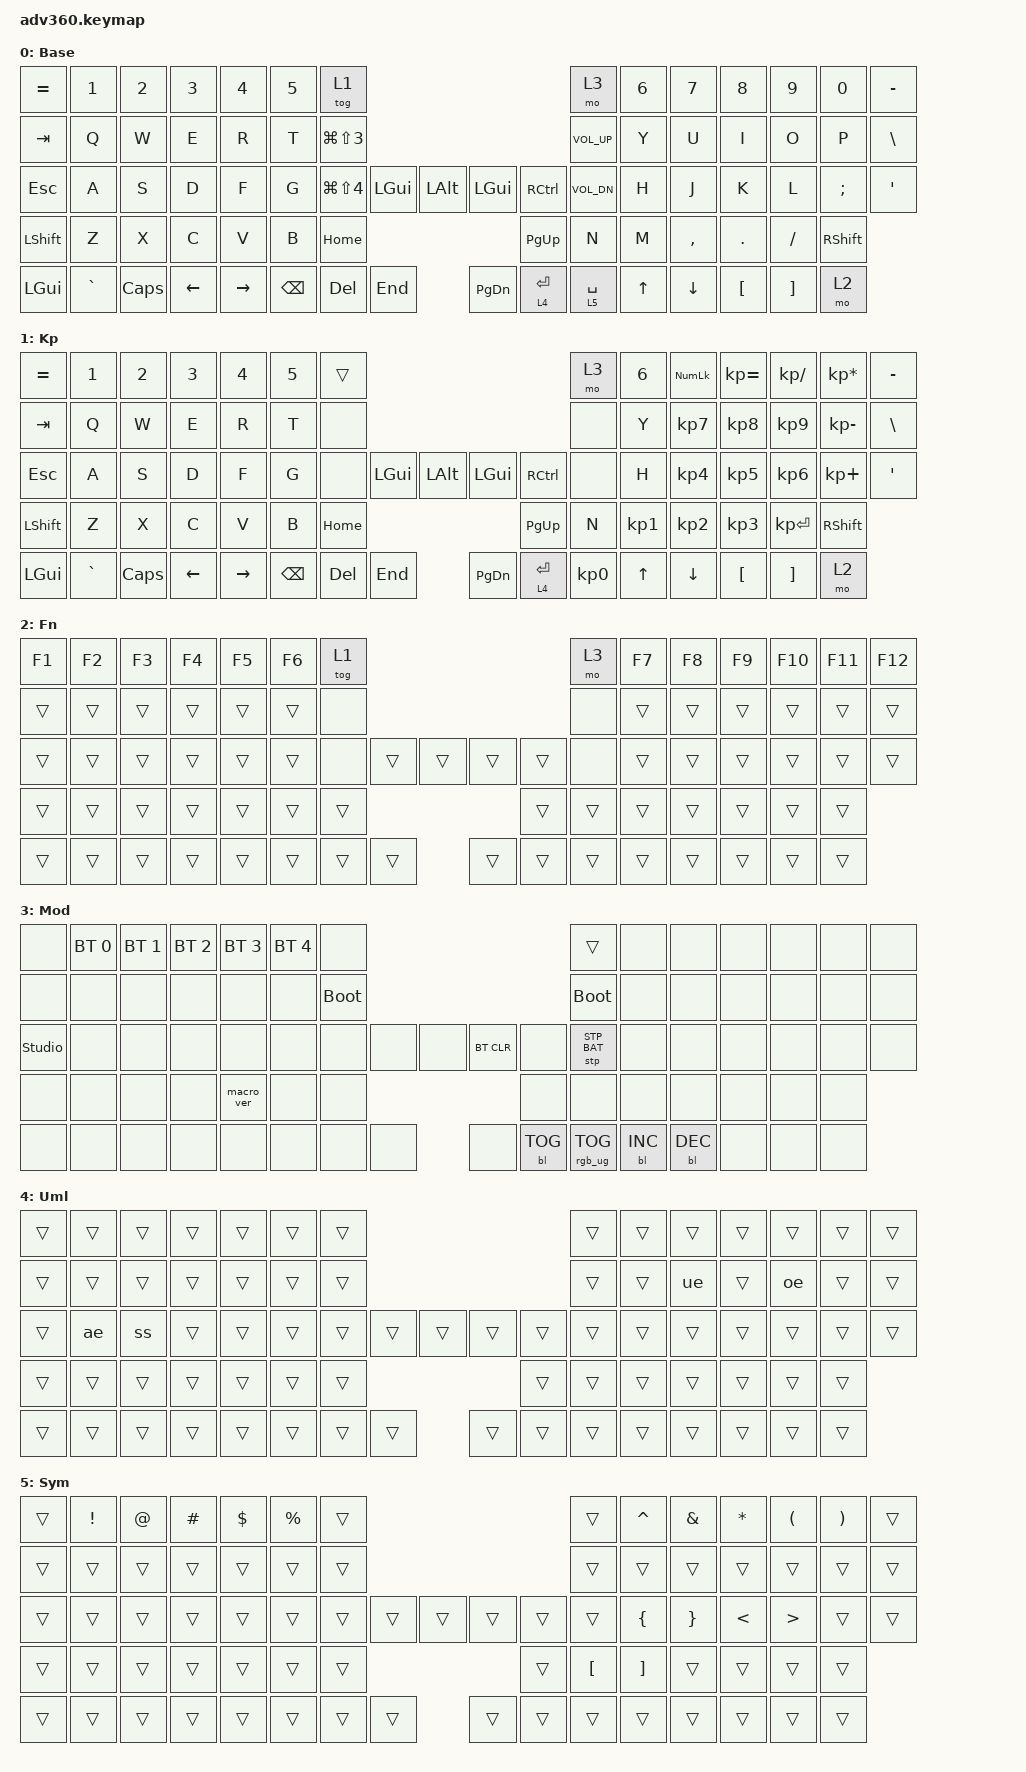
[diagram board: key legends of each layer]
#include <behaviors.dtsi>
#include <dt-bindings/zmk/keys.h>
#include <dt-bindings/zmk/bt.h>
#include <dt-bindings/zmk/rgb.h>
#include <dt-bindings/zmk/stp.h>
#include <dt-bindings/zmk/backlight.h>
#include <dt-bindings/zmk/pointing.h>

/ {
    behaviors {
      #include "macros.dtsi"
      #include "version.dtsi"

      hm: homerow_mods {
          compatible = "zmk,behavior-hold-tap";
          label = "HOMEROW_MODS";
          #binding-cells = <2>;
          tapping-term-ms = <200>;
          quick_tap_ms = <175>;
          flavor = "tap-preferred";
          bindings = <&kp>, <&kp>;
      };

      // Hold-Tap: Tap = Enter, Hold = Umlaut Layer (Layer 2)
      uml: umlaut_layer {
          compatible = "zmk,behavior-hold-tap";
          label = "UMLAUT_LAYER";
          #binding-cells = <2>;
          tapping-term-ms = <200>;
          quick_tap_ms = <175>;
          flavor = "tap-preferred";
          bindings = <&mo>, <&kp>;
      };

      // Hold-Tap: Tap = Space, Hold = Symbol Layer (Layer 3)
      sym: symbol_layer {
          compatible = "zmk,behavior-hold-tap";
          label = "SYMBOL_LAYER";
          #binding-cells = <2>;
          tapping-term-ms = <200>;
          quick_tap_ms = <175>;
          flavor = "tap-preferred";
          bindings = <&mo>, <&kp>;
      };
    };

  keymap {
    compatible = "zmk,keymap";

    default_layer {
      display-name = "Base";
      bindings = <
        &kp EQUAL &kp N1    &kp N2   &kp N3   &kp N4     &kp N5 &tog 1                                                                   &mo 3 &kp N6 &kp N7 &kp N8    &kp N9   &kp N0   &kp MINUS
        &kp TAB   &kp Q     &kp W    &kp E    &kp R      &kp T  &kp LG(LS(N3))                                                           &kp C_VOL_UP &kp Y  &kp U  &kp I     &kp O    &kp P    &kp BSLH
        &kp ESC   &kp A     &kp S    &kp D    &kp F      &kp G  &kp LG(LS(N4))  &kp LGUI  &kp LALT  &kp LGUI  &kp RCTRL                  &kp C_VOL_DN &kp H  &kp J  &kp K     &kp L    &kp SEMI &kp SQT
        &kp LSHFT &kp Z     &kp X    &kp C    &kp V      &kp B                            &kp HOME  &kp PG_UP                                  &kp N  &kp M  &kp COMMA &kp DOT  &kp FSLH &kp RSHFT
        &kp LGUI  &kp GRAVE &kp CAPS &kp LEFT &kp RIGHT                &kp BSPC &kp DEL   &kp END   &kp PG_DN &uml 4 ENTER &sym 5 SPACE         &kp UP &kp DOWN &kp LBKT &kp RBKT &mo 2
      >;
    };

    keypad {
      display-name = "Kp";
      bindings = <
        &kp EQUAL &kp N1    &kp N2   &kp N3   &kp N4     &kp N5 &trans                                                                   &mo 3 &kp N6 &kp KP_NUM &kp KP_EQUAL &kp KP_DIVIDE &kp KP_MULTIPLY &kp MINUS
        &kp TAB   &kp Q     &kp W    &kp E    &kp R      &kp T  &none                                                                    &none &kp Y  &kp KP_N7  &kp KP_N8    &kp KP_N9     &kp KP_MINUS    &kp BSLH
        &kp ESC   &kp A     &kp S    &kp D    &kp F      &kp G  &none           &kp LGUI  &kp LALT  &kp LGUI  &kp RCTRL                  &none &kp H  &kp KP_N4  &kp KP_N5    &kp KP_N6     &kp KP_PLUS     &kp SQT
        &kp LSHFT &kp Z     &kp X    &kp C    &kp V      &kp B                            &kp HOME  &kp PG_UP                                  &kp N  &kp KP_N1  &kp KP_N2    &kp KP_N3     &kp KP_ENTER    &kp RSHFT
        &kp LGUI  &kp GRAVE &kp CAPS &kp LEFT &kp RIGHT                &kp BSPC &kp DEL   &kp END   &kp PG_DN &uml 4 ENTER &kp KP_N0           &kp UP &kp DOWN &kp LBKT &kp RBKT &mo 2
      >;
    };

    fn {
      display-name = "Fn";
      bindings = <
        &kp F1 &kp F2 &kp F3 &kp F4 &kp F5 &kp F6 &tog 1                                                    &mo 3 &kp F7 &kp F8 &kp F9 &kp F10 &kp F11 &kp F12
        &trans &trans &trans &trans &trans &trans  &none                                                    &none &trans &trans &trans &trans  &trans  &trans
        &trans &trans &trans &trans &trans &trans  &none        &trans &trans &trans &trans                 &none &trans &trans &trans &trans  &trans  &trans
        &trans &trans &trans &trans &trans &trans                      &trans &trans                              &trans &trans &trans &trans  &trans  &trans
        &trans &trans &trans &trans &trans               &trans &trans &trans &trans &trans &trans                      &trans &trans &trans  &trans  &trans
      >;
    };

    mod {
      display-name = "Mod";
      bindings = <
        &none &bt BT_SEL 0 &bt BT_SEL 1 &bt BT_SEL 2 &bt BT_SEL 3 &bt BT_SEL 4 &none                                                                     &trans                 &none        &none        &none        &none &none &none
        &none &none        &none        &none        &none        &none        &bootloader                                                               &bootloader            &none        &none        &none        &none &none &none
        &studio_unlock &none        &none        &none        &none        &none        &none                   &none &none &bt BT_CLR &none              &stp STP_BAT &none        &none        &none        &none &none &none
        &none &none        &none        &none        &macro_ver   &none                                      &none &none                                                        &none        &none        &none        &none &none &none
        &none &none        &none        &none        &none                                       &none &none &none &none      &bl BL_TOG &rgb_ug RGB_TOG                                     &bl BL_INC   &bl BL_DEC   &none &none &none
      >;
    };

    // Layer 4: Umlaute (rechter Daumen halten)
    umlaut {
      display-name = "Uml";
      bindings = <
        &trans &trans &trans &trans &trans &trans &trans                                                      &trans &trans &trans &trans &trans &trans &trans
        &trans &trans &trans &trans &trans &trans &trans                                                      &trans &trans &ue    &trans &oe    &trans &trans
        &trans &ae    &ss    &trans &trans &trans &trans   &trans &trans &trans &trans                        &trans &trans &trans &trans &trans &trans &trans
        &trans &trans &trans &trans &trans &trans                  &trans &trans                                     &trans &trans &trans &trans &trans &trans
        &trans &trans &trans &trans &trans               &trans &trans &trans &trans &trans &trans                   &trans &trans &trans &trans &trans
      >;
    };

    // Layer 5: Symbole (linker Daumen halten)
    symbol {
      display-name = "Sym";
      bindings = <
        &trans    &kp EXCL  &kp AT    &kp HASH  &kp DLLR  &kp PRCNT &trans                                   &trans &kp CARET &kp AMPS  &kp STAR  &kp LPAR  &kp RPAR  &trans
        &trans    &trans    &trans    &trans    &trans    &trans    &trans                                   &trans &trans    &trans    &trans    &trans    &trans    &trans
        &trans    &trans    &trans    &trans    &trans    &trans    &trans   &trans &trans &trans &trans      &trans &kp LBRC  &kp RBRC  &kp LT    &kp GT    &trans    &trans
        &trans    &trans    &trans    &trans    &trans    &trans                    &trans &trans                    &kp LBKT  &kp RBKT  &trans    &trans    &trans    &trans
        &trans    &trans    &trans    &trans    &trans              &trans &trans   &trans &trans &trans &trans              &trans    &trans    &trans    &trans    &trans
      >;
    };

    extra3 {
      display-name = "Cyan";
      status = "reserved";
    };

    extra4 {
      display-name = "Yellow";
      status = "reserved";
    };
  };
};
